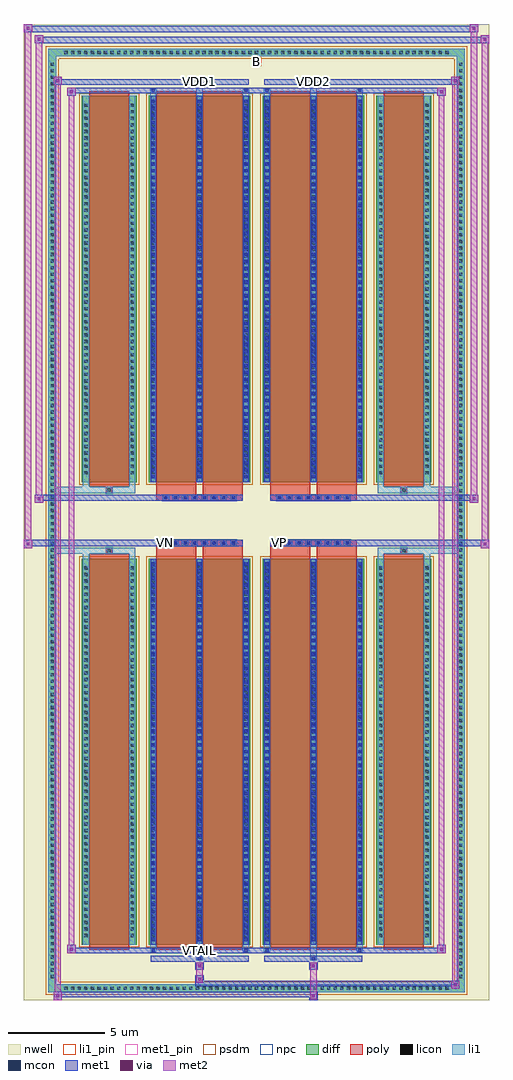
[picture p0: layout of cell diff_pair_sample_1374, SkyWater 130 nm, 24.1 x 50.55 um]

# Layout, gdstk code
import gdstk
lib = gdstk.Library(unit=1e-6, precision=5e-09)
def R(c, l, rs):  # rectangles x0, y0, x1, y1
    for r in rs: c.add(gdstk.rectangle(r[:2], r[2:], *l))
def A(c, l, x, y, w, h, nx, ny, dx, dy):  # array of equal rectangles
    R(c, l, [(x+i*dx, y+j*dy, x+i*dx+w, y+j*dy+h) for i in range(nx) for j in range(ny)])
def P(c, l, *ps):  # polygons
    for p in ps: c.add(gdstk.Polygon(p, *l))
nwell = (64, 20)
diff = (65, 20)
poly = (66, 20)
licon = (66, 44)
li1_pin = (67, 16)
li1 = (67, 20)
mcon = (67, 44)
met1_pin = (68, 16)
met1 = (68, 20)
via = (68, 44)
met2 = (69, 20)
psdm = (94, 20)
npc = (95, 20)

diff_pair_sample_1374 = lib.new_cell('diff_pair_sample_1374')
R(diff_pair_sample_1374, nwell, [(-12.05,-24.84,12.05,25.71), (-9.37,-23.03,-0.01,-0.805), (0.01,-23.03,9.37,-0.805), (-9.37,0.805,-0.01,23.03), (0.01,0.805,9.37,23.03)])
A(diff_pair_sample_1374, diff, -10.065, -24.44, 0.41, 0.41, 59, 2, 0.34, 48.47)
A(diff_pair_sample_1374, diff, -10.78, -23.835, 0.41, 0.41, 1, 140, 0, 0.34)
A(diff_pair_sample_1374, diff, 10.37, -23.835, 0.41, 0.41, 1, 140, 0, 0.34)
R(diff_pair_sample_1374, diff, [(-10.065,-24.44,10.065,-24.03), (-10.78,-23.835,-10.37,23.835), (10.37,-23.835,10.78,23.835), (-9.06,-21.985,-6.21,-1.985), (-5.57,-21.985,-0.32,-1.985), (0.32,-21.985,5.57,-1.985), (6.21,-21.985,9.06,-1.985), (-9.06,1.985,-6.21,21.985), (-5.57,1.985,-0.32,21.985), (0.32,1.985,5.57,21.985), (6.21,1.985,9.06,21.985), (-10.065,24.03,10.065,24.44)])
P(diff_pair_sample_1374, diff, [(10.78,24.44),(-10.78,24.44),(-10.78,-24.03),(-10.37,-24.03),(-10.37,24.03),(10.37,24.03),(10.37,-24.03),(-10.37,-24.03),(-10.78,-24.03),(-10.78,-24.44),(10.78,-24.44)])
A(diff_pair_sample_1374, poly, -4.86, -1.335, 0.33, 0.33, 8, 2, 0.5, 2.34)
A(diff_pair_sample_1374, poly, 1.03, -1.335, 0.33, 0.33, 8, 2, 0.5, 2.34)
R(diff_pair_sample_1374, poly, [(-8.67,-22.235,-6.6,-1.735), (-5.18,-22.235,-3.11,-1.735), (-2.78,-22.235,-0.71,-1.735), (0.71,-22.235,2.78,-1.735), (3.11,-22.235,5.18,-1.735), (6.6,-22.235,8.67,-1.735), (-7.8,-1.735,-7.47,-1.405), (-7.8,-1.735,-7.47,-1.405), (-5.18,-1.735,-3.11,-1.335), (-2.78,-1.735,-0.71,-1.335), (0.71,-1.735,2.78,-1.335), (3.11,-1.735,5.18,-1.335), (7.47,-1.735,7.8,-1.405), (7.47,-1.735,7.8,-1.405), (-5.18,-1.335,-0.71,-1.005), (0.71,-1.335,5.18,-1.005), (-5.18,1.005,-0.71,1.335), (0.71,1.005,5.18,1.335), (-5.18,1.335,-3.11,1.735), (-2.78,1.335,-0.71,1.735), (0.71,1.335,2.78,1.735), (3.11,1.335,5.18,1.735), (-7.8,1.405,-7.47,1.735), (-7.8,1.405,-7.47,1.735), (7.47,1.405,7.8,1.735), (7.47,1.405,7.8,1.735), (-8.67,1.735,-6.6,22.235), (-5.18,1.735,-3.11,22.235), (-2.78,1.735,-0.71,22.235), (0.71,1.735,2.78,22.235), (3.11,1.735,5.18,22.235), (6.6,1.735,8.67,22.235)])
A(diff_pair_sample_1374, licon, -9.945, -24.32, 0.17, 0.17, 59, 2, 0.34, 48.47)
A(diff_pair_sample_1374, licon, -10.66, -23.715, 0.17, 0.17, 1, 140, 0, 0.34)
A(diff_pair_sample_1374, licon, 10.49, -23.715, 0.17, 0.17, 1, 140, 0, 0.34)
A(diff_pair_sample_1374, licon, -8.92, -21.59, 0.17, 0.17, 1, 57, 0, 0.34)
A(diff_pair_sample_1374, licon, -6.52, -21.59, 0.17, 0.17, 1, 57, 0, 0.34)
A(diff_pair_sample_1374, licon, -5.43, -21.59, 0.17, 0.17, 3, 57, 2.4, 0.34)
A(diff_pair_sample_1374, licon, 0.46, -21.59, 0.17, 0.17, 3, 57, 2.4, 0.34)
A(diff_pair_sample_1374, licon, 6.35, -21.59, 0.17, 0.17, 1, 57, 0, 0.34)
A(diff_pair_sample_1374, licon, 8.75, -21.59, 0.17, 0.17, 1, 57, 0, 0.34)
A(diff_pair_sample_1374, licon, -4.78, -1.255, 0.17, 0.17, 8, 2, 0.5, 2.34)
A(diff_pair_sample_1374, licon, 1.11, -1.255, 0.17, 0.17, 8, 2, 0.5, 2.34)
A(diff_pair_sample_1374, licon, -8.92, 2.38, 0.17, 0.17, 1, 57, 0, 0.34)
A(diff_pair_sample_1374, licon, -6.52, 2.38, 0.17, 0.17, 1, 57, 0, 0.34)
A(diff_pair_sample_1374, licon, -5.43, 2.38, 0.17, 0.17, 3, 57, 2.4, 0.34)
A(diff_pair_sample_1374, licon, 0.46, 2.38, 0.17, 0.17, 3, 57, 2.4, 0.34)
A(diff_pair_sample_1374, licon, 6.35, 2.38, 0.17, 0.17, 1, 57, 0, 0.34)
A(diff_pair_sample_1374, licon, 8.75, 2.38, 0.17, 0.17, 1, 57, 0, 0.34)
R(diff_pair_sample_1374, licon, [(-7.72,-1.655,-7.55,-1.485), (7.55,-1.655,7.72,-1.485), (-7.72,1.485,-7.55,1.655), (7.55,1.485,7.72,1.655)])
R(diff_pair_sample_1374, li1_pin, [(-0.25,23.53,0.25,24.03)])
A(diff_pair_sample_1374, li1, -10.025, -24.4, 0.33, 0.33, 59, 2, 0.34, 48.47)
A(diff_pair_sample_1374, li1, -10.74, -23.795, 0.33, 0.33, 1, 140, 0, 0.34)
A(diff_pair_sample_1374, li1, 10.41, -23.795, 0.33, 0.33, 1, 140, 0, 0.34)
A(diff_pair_sample_1374, li1, -5.51, -21.985, 0.33, 20, 3, 2, 2.4, 23.97)
A(diff_pair_sample_1374, li1, 0.38, -21.985, 0.33, 20, 3, 2, 2.4, 23.97)
A(diff_pair_sample_1374, li1, -5.43, -21.79, 0.17, 0.17, 3, 55, 2.4, 0.36)
A(diff_pair_sample_1374, li1, -5.43, -21.79, 0.17, 19.61, 3, 2, 2.4, 23.97)
A(diff_pair_sample_1374, li1, 0.46, -21.79, 0.17, 0.17, 3, 55, 2.4, 0.36)
A(diff_pair_sample_1374, li1, 0.46, -21.79, 0.17, 19.61, 3, 2, 2.4, 23.97)
A(diff_pair_sample_1374, li1, -9, -21.67, 0.33, 0.33, 1, 57, 0, 0.34)
A(diff_pair_sample_1374, li1, -6.6, -21.67, 0.33, 0.33, 1, 57, 0, 0.34)
A(diff_pair_sample_1374, li1, -5.51, -21.67, 0.33, 0.33, 3, 57, 2.4, 0.34)
A(diff_pair_sample_1374, li1, 0.38, -21.67, 0.33, 0.33, 3, 57, 2.4, 0.34)
A(diff_pair_sample_1374, li1, 6.27, -21.67, 0.33, 0.33, 1, 57, 0, 0.34)
A(diff_pair_sample_1374, li1, 8.67, -21.67, 0.33, 0.33, 1, 57, 0, 0.34)
A(diff_pair_sample_1374, li1, -4.86, -1.335, 0.33, 0.33, 8, 2, 0.5, 2.34)
A(diff_pair_sample_1374, li1, 1.03, -1.335, 0.33, 0.33, 8, 2, 0.5, 2.34)
A(diff_pair_sample_1374, li1, -5.43, 2.18, 0.17, 0.17, 3, 55, 2.4, 0.36)
A(diff_pair_sample_1374, li1, 0.46, 2.18, 0.17, 0.17, 3, 55, 2.4, 0.36)
A(diff_pair_sample_1374, li1, -9, 2.3, 0.33, 0.33, 1, 57, 0, 0.34)
A(diff_pair_sample_1374, li1, -6.6, 2.3, 0.33, 0.33, 1, 57, 0, 0.34)
A(diff_pair_sample_1374, li1, -5.51, 2.3, 0.33, 0.33, 3, 57, 2.4, 0.34)
A(diff_pair_sample_1374, li1, 0.38, 2.3, 0.33, 0.33, 3, 57, 2.4, 0.34)
A(diff_pair_sample_1374, li1, 6.27, 2.3, 0.33, 0.33, 1, 57, 0, 0.34)
A(diff_pair_sample_1374, li1, 8.67, 2.3, 0.33, 0.33, 1, 57, 0, 0.34)
R(diff_pair_sample_1374, li1, [(-10.78,-24.44,-10.37,-24.03), (-10.78,-24.44,-10.37,-24.03), (-10.37,-24.44,10.37,-24.03), (10.37,-24.44,10.78,-24.03), (10.37,-24.44,10.78,-24.03), (-10.78,-24.03,-10.37,24.03), (10.37,-24.03,10.78,24.03), (-3.11,-22.79,-2.78,-21.985), (-3.03,-22.79,-2.86,-22.62), (2.78,-22.79,3.11,-21.985), (2.86,-22.79,3.03,-22.62), (-5.51,-22.36,-5.18,-21.985), (-5.43,-22.36,-5.26,-22.19), (-0.71,-22.36,-0.38,-21.985), (-0.63,-22.36,-0.46,-22.19), (0.38,-22.36,0.71,-21.985), (0.46,-22.36,0.63,-22.19), (5.18,-22.36,5.51,-21.985), (5.26,-22.36,5.43,-22.19), (-9,-21.985,-8.67,-1.985), (-6.6,-21.985,-6.27,-1.985), (6.27,-21.985,6.6,-1.985), (8.67,-21.985,9,-1.985), (-9,-1.985,-8.67,-1.405), (-6.6,-1.985,-6.27,-1.405), (6.27,-1.985,6.6,-1.405), (8.67,-1.985,9,-1.405), (-10.78,-1.735,-7.8,-1.405), (-9,-1.735,-7.8,-1.405), (-7.8,-1.735,-7.47,-1.405), (-7.47,-1.735,-6.27,-1.405), (6.27,-1.735,7.47,-1.405), (7.47,-1.735,7.8,-1.405), (7.47,-1.735,10.78,-1.405), (7.8,-1.735,9,-1.405), (-10.78,1.405,-7.8,1.735), (-9,1.405,-7.8,1.735), (-9,1.405,-8.67,1.985), (-7.8,1.405,-7.47,1.735), (-7.47,1.405,-6.27,1.735), (-6.6,1.405,-6.27,1.985), (6.27,1.405,7.47,1.735), (6.27,1.405,6.6,1.985), (7.47,1.405,7.8,1.735), (7.47,1.405,10.78,1.735), (7.8,1.405,9,1.735), (8.67,1.405,9,1.985), (-9,1.985,-8.67,21.985), (-6.6,1.985,-6.27,21.985), (6.27,1.985,6.6,21.985), (8.67,1.985,9,21.985), (-5.51,21.985,-5.18,22.36), (-3.11,21.985,-2.78,22.79), (-0.71,21.985,-0.38,22.36), (0.38,21.985,0.71,22.36), (2.78,21.985,3.11,22.79), (5.18,21.985,5.51,22.36), (-5.43,22.19,-5.26,22.36), (-0.63,22.19,-0.46,22.36), (0.46,22.19,0.63,22.36), (5.26,22.19,5.43,22.36), (-3.03,22.62,-2.86,22.79), (2.86,22.62,3.03,22.79), (-10.78,24.03,-10.37,24.44), (-10.78,24.03,-10.37,24.44), (-10.37,24.03,10.37,24.44), (10.37,24.03,10.78,24.44), (10.37,24.03,10.78,24.44)])
A(diff_pair_sample_1374, mcon, -5.43, -21.79, 0.17, 0.17, 3, 55, 2.4, 0.36)
A(diff_pair_sample_1374, mcon, 0.46, -21.79, 0.17, 0.17, 3, 55, 2.4, 0.36)
A(diff_pair_sample_1374, mcon, -4.78, -1.255, 0.17, 0.17, 8, 2, 0.5, 2.34)
A(diff_pair_sample_1374, mcon, 1.11, -1.255, 0.17, 0.17, 8, 2, 0.5, 2.34)
A(diff_pair_sample_1374, mcon, -5.43, 2.18, 0.17, 0.17, 3, 55, 2.4, 0.36)
A(diff_pair_sample_1374, mcon, 0.46, 2.18, 0.17, 0.17, 3, 55, 2.4, 0.36)
R(diff_pair_sample_1374, mcon, [(-3.03,-22.79,-2.86,-22.62), (2.86,-22.79,3.03,-22.62), (-5.43,-22.36,-5.26,-22.19), (-0.63,-22.36,-0.46,-22.19), (0.46,-22.36,0.63,-22.19), (5.26,-22.36,5.43,-22.19), (-5.43,22.19,-5.26,22.36), (-0.63,22.19,-0.46,22.36), (0.46,22.19,0.63,22.36), (5.26,22.19,5.43,22.36), (-3.03,22.62,-2.86,22.79), (2.86,22.62,3.03,22.79)])
R(diff_pair_sample_1374, met1_pin, [(-3.08,-22.4,-2.81,-22.13), (-4.83,-1.295,-4.56,-1.025), (1.06,-1.295,1.33,-1.025), (-3.08,22.58,-2.81,22.85), (2.81,22.58,3.08,22.85)])
A(diff_pair_sample_1374, met1, -5.49, -21.985, 0.29, 20, 3, 2, 2.4, 23.97)
A(diff_pair_sample_1374, met1, 0.4, -21.985, 0.29, 20, 3, 2, 2.4, 23.97)
A(diff_pair_sample_1374, met1, -5.49, -21.85, 0.29, 0.29, 3, 55, 2.4, 0.36)
A(diff_pair_sample_1374, met1, 0.4, -21.85, 0.29, 0.29, 3, 55, 2.4, 0.36)
A(diff_pair_sample_1374, met1, -4.84, -1.315, 0.29, 0.29, 8, 2, 0.5, 2.34)
A(diff_pair_sample_1374, met1, 1.05, -1.315, 0.29, 0.29, 8, 2, 0.5, 2.34)
A(diff_pair_sample_1374, met1, -5.49, 2.12, 0.29, 0.29, 3, 55, 2.4, 0.36)
A(diff_pair_sample_1374, met1, 0.4, 2.12, 0.29, 0.29, 3, 55, 2.4, 0.36)
R(diff_pair_sample_1374, met1, [(-10.51,-24.84,-10.08,-24.41), (2.73,-24.84,3.16,-24.41), (-10.51,-24.7,3.16,-24.41), (10.08,-24.27,10.51,-23.84), (-3.16,-24.13,10.51,-23.84), (-3.16,-23.99,-2.73,-23.56), (-3.16,-23.28,-2.73,-22.85), (2.73,-23.28,3.16,-22.85), (-5.49,-22.85,-0.4,-22.56), (-3.09,-22.85,-2.8,-22.56), (0.4,-22.85,5.49,-22.56), (2.8,-22.85,3.09,-22.56), (-9.8,-22.42,-9.37,-21.99), (-9.8,-22.42,-5.49,-22.13), (-5.49,-22.42,-5.2,-22.13), (-5.49,-22.42,-0.4,-22.13), (-0.69,-22.42,-0.4,-22.13), (-0.4,-22.42,0.4,-22.13), (0.4,-22.42,0.69,-22.13), (0.4,-22.42,5.49,-22.13), (5.2,-22.42,5.49,-22.13), (5.49,-22.42,9.8,-22.13), (9.37,-22.42,9.8,-21.99), (-12.05,-1.435,-11.62,-1.005), (11.62,-1.435,12.05,-1.005), (-12.05,-1.335,-0.71,-1.005), (-5.18,-1.335,-0.71,-1.005), (0.71,-1.335,5.18,-1.005), (0.71,-1.335,12.05,-1.005), (-11.48,0.905,-11.05,1.335), (11.05,0.905,11.48,1.335), (-11.48,1.005,-5.18,1.335), (-5.18,1.005,-0.71,1.335), (0.71,1.005,5.18,1.335), (5.18,1.005,11.48,1.335), (-9.8,21.99,-9.37,22.42), (9.37,21.99,9.8,22.42), (-9.8,22.13,-5.49,22.42), (-5.49,22.13,-5.2,22.42), (-5.49,22.13,-0.4,22.42), (-0.69,22.13,-0.4,22.42), (-0.4,22.13,0.4,22.42), (0.4,22.13,0.69,22.42), (0.4,22.13,5.49,22.42), (5.2,22.13,5.49,22.42), (5.49,22.13,9.8,22.42), (-10.51,22.56,-10.08,22.99), (-10.51,22.56,-5.49,22.85), (-5.49,22.56,-0.4,22.85), (-3.09,22.56,-2.8,22.85), (0.4,22.56,5.49,22.85), (2.8,22.56,3.09,22.85), (5.49,22.56,10.51,22.85), (10.08,22.56,10.51,22.99), (-11.48,24.71,-11.05,25.14), (-11.48,24.71,-9.37,25.04), (-9.37,24.71,9.37,25.04), (9.37,24.71,12.05,25.04), (11.62,24.71,12.05,25.14), (-12.05,25.28,-11.62,25.71), (-12.05,25.28,-9.37,25.61), (-9.37,25.28,9.37,25.61), (9.37,25.28,11.48,25.61), (11.05,25.28,11.48,25.71)])
R(diff_pair_sample_1374, via, [(-10.37,-24.7,-10.22,-24.55), (2.87,-24.7,3.02,-24.55), (10.22,-24.13,10.37,-23.98), (-3.02,-23.85,-2.87,-23.7), (-3.02,-23.14,-2.87,-22.99), (2.87,-23.14,3.02,-22.99), (-9.66,-22.28,-9.51,-22.13), (9.51,-22.28,9.66,-22.13), (-11.91,-1.295,-11.76,-1.145), (11.76,-1.295,11.91,-1.145), (-11.34,1.045,-11.19,1.195), (11.19,1.045,11.34,1.195), (-9.66,22.13,-9.51,22.28), (9.51,22.13,9.66,22.28), (-10.37,22.7,-10.22,22.85), (10.22,22.7,10.37,22.85), (-11.34,24.85,-11.19,25), (11.76,24.85,11.91,25), (-11.91,25.42,-11.76,25.57), (11.19,25.42,11.34,25.57)])
R(diff_pair_sample_1374, met2, [(-10.51,-24.84,-10.08,-24.41), (-10.44,-24.84,-10.15,22.99), (-10.15,-24.84,-10.08,-24.41), (-10.46,-24.79,-10.13,-24.46), (2.78,-24.79,3.11,-24.46), (2.78,-24.46,3.11,-23.23), (10.08,-24.27,10.51,-23.84), (10.15,-24.27,10.44,22.99), (10.44,-24.27,10.51,-23.84), (10.13,-24.22,10.46,-23.89), (-3.11,-23.94,-2.78,-23.61), (-3.11,-23.61,-2.78,-23.23), (-3.11,-23.23,-2.78,-22.9), (2.78,-23.23,3.11,-22.9), (-9.8,-22.42,-9.37,-21.99), (-9.73,-22.42,-9.44,22.42), (-9.44,-22.42,-9.37,-21.99), (9.37,-22.42,9.8,-21.99), (9.44,-22.42,9.73,22.42), (9.73,-22.42,9.8,-21.99), (-9.75,-22.37,-9.42,-22.04), (9.42,-22.37,9.75,-22.04), (-12.05,-1.435,-11.62,-1.005), (-12,-1.435,-11.67,25.71), (-11.67,-1.435,-11.62,-1.005), (11.62,-1.435,12.05,-1.005), (11.67,-1.435,12,25.14), (12,-1.435,12.05,-1.005), (-12,-1.385,-11.67,-1.055), (11.67,-1.385,12,-1.055), (-11.48,0.905,-11.05,1.335), (-11.43,0.905,-11.1,25.14), (-11.1,0.905,-11.05,1.335), (11.05,0.905,11.48,1.335), (11.1,0.905,11.43,25.71), (11.43,0.905,11.48,1.335), (-11.43,0.955,-11.1,1.285), (11.1,0.955,11.43,1.285), (-9.8,21.99,-9.37,22.42), (-9.44,21.99,-9.37,22.42), (9.37,21.99,9.8,22.42), (9.73,21.99,9.8,22.42), (-9.75,22.04,-9.42,22.37), (9.42,22.04,9.75,22.37), (-10.51,22.56,-10.08,22.99), (-10.15,22.56,-10.08,22.99), (10.08,22.56,10.51,22.99), (10.44,22.56,10.51,22.99), (-10.46,22.61,-10.13,22.94), (10.13,22.61,10.46,22.94), (-11.48,24.71,-11.05,25.14), (-11.1,24.71,-11.05,25.14), (11.62,24.71,12.05,25.14), (12,24.71,12.05,25.14), (-11.43,24.76,-11.1,25.09), (11.67,24.76,12,25.09), (-12.05,25.28,-11.62,25.71), (-11.67,25.28,-11.62,25.71), (11.05,25.28,11.48,25.71), (11.43,25.28,11.48,25.71), (-12,25.33,-11.67,25.66), (11.1,25.33,11.43,25.66)])
R(diff_pair_sample_1374, psdm, [(-9.19,-22.115,-6.08,-1.855), (-5.7,-22.115,-0.19,-1.855), (0.19,-22.115,5.7,-1.855), (6.08,-22.115,9.19,-1.855), (-9.19,1.855,-6.08,22.115), (-5.7,1.855,-0.19,22.115), (0.19,1.855,5.7,22.115), (6.08,1.855,9.19,22.115)])
P(diff_pair_sample_1374, psdm, [(10.91,24.57),(-10.91,24.57),(-10.91,-23.9),(-10.24,-23.9),(-10.24,23.9),(10.24,23.9),(10.24,-23.9),(-10.24,-23.9),(-10.91,-23.9),(-10.91,-24.57),(10.91,-24.57)])
A(diff_pair_sample_1374, npc, -4.88, -1.355, 0.37, 0.37, 8, 2, 0.5, 2.34)
A(diff_pair_sample_1374, npc, 1.01, -1.355, 0.37, 0.37, 8, 2, 0.5, 2.34)
R(diff_pair_sample_1374, npc, [(-7.82,-1.755,-7.45,-1.385), (7.45,-1.755,7.82,-1.385), (-4.88,-1.355,-4.01,-0.985), (-4.88,-1.355,-4.01,-0.985), (-4.38,-1.355,-3.51,-0.985), (-4.38,-1.355,-3.51,-0.985), (-3.88,-1.355,-3.01,-0.985), (-3.88,-1.355,-3.01,-0.985), (-3.38,-1.355,-2.51,-0.985), (-3.38,-1.355,-2.51,-0.985), (-2.88,-1.355,-2.01,-0.985), (-2.88,-1.355,-2.01,-0.985), (-2.38,-1.355,-1.51,-0.985), (-2.38,-1.355,-1.51,-0.985), (-1.88,-1.355,-1.01,-0.985), (-1.88,-1.355,-1.01,-0.985), (1.01,-1.355,1.88,-0.985), (1.01,-1.355,1.88,-0.985), (1.51,-1.355,2.38,-0.985), (1.51,-1.355,2.38,-0.985), (2.01,-1.355,2.88,-0.985), (2.01,-1.355,2.88,-0.985), (2.51,-1.355,3.38,-0.985), (2.51,-1.355,3.38,-0.985), (3.01,-1.355,3.88,-0.985), (3.01,-1.355,3.88,-0.985), (3.51,-1.355,4.38,-0.985), (3.51,-1.355,4.38,-0.985), (4.01,-1.355,4.88,-0.985), (4.01,-1.355,4.88,-0.985), (-4.88,0.985,-4.01,1.355), (-4.88,0.985,-4.01,1.355), (-4.38,0.985,-3.51,1.355), (-4.38,0.985,-3.51,1.355), (-3.88,0.985,-3.01,1.355), (-3.88,0.985,-3.01,1.355), (-3.38,0.985,-2.51,1.355), (-3.38,0.985,-2.51,1.355), (-2.88,0.985,-2.01,1.355), (-2.88,0.985,-2.01,1.355), (-2.38,0.985,-1.51,1.355), (-2.38,0.985,-1.51,1.355), (-1.88,0.985,-1.01,1.355), (-1.88,0.985,-1.01,1.355), (1.01,0.985,1.88,1.355), (1.01,0.985,1.88,1.355), (1.51,0.985,2.38,1.355), (1.51,0.985,2.38,1.355), (2.01,0.985,2.88,1.355), (2.01,0.985,2.88,1.355), (2.51,0.985,3.38,1.355), (2.51,0.985,3.38,1.355), (3.01,0.985,3.88,1.355), (3.01,0.985,3.88,1.355), (3.51,0.985,4.38,1.355), (3.51,0.985,4.38,1.355), (4.01,0.985,4.88,1.355), (4.01,0.985,4.88,1.355), (-7.82,1.385,-7.45,1.755), (7.45,1.385,7.82,1.755)])
diff_pair_sample_1374.add(gdstk.Label('VTAIL', (-2.945,-22.265), layer=68, texttype=5))
diff_pair_sample_1374.add(gdstk.Label('VN', (-4.695,-1.16), layer=68, texttype=5))
diff_pair_sample_1374.add(gdstk.Label('VP', (1.195,-1.16), layer=68, texttype=5))
diff_pair_sample_1374.add(gdstk.Label('B', (0,23.78), layer=67, texttype=5))
diff_pair_sample_1374.add(gdstk.Label('VDD2', (2.945,22.715), layer=68, texttype=5))
diff_pair_sample_1374.add(gdstk.Label('VDD1', (-2.945,22.715), layer=68, texttype=5))

lib.write_gds('diff_pair_sample_1374.gds')
